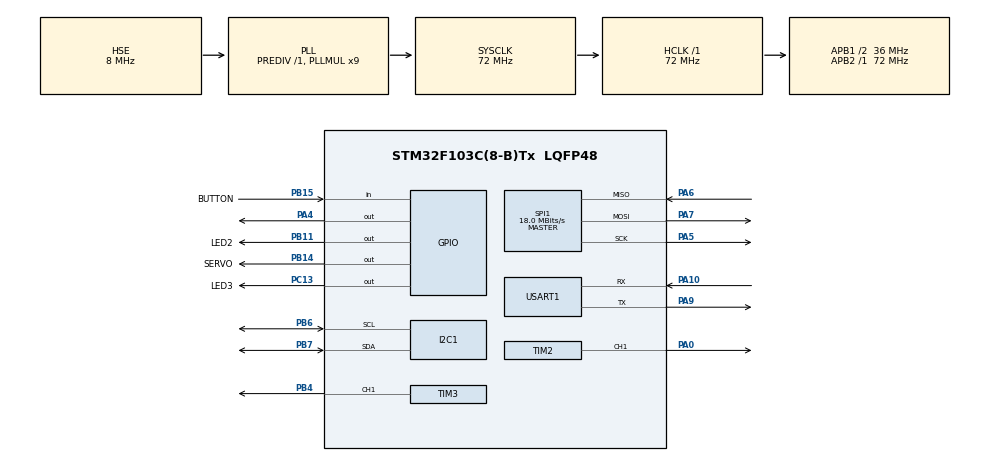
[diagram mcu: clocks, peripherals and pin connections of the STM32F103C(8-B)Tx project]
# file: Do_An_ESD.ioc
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Dma.Request0=USART1_RX
Dma.USART1_RX.0.Direction=DMA_PERIPH_TO_MEMORY
Dma.USART1_RX.0.Instance=DMA1_Channel5
Dma.USART1_RX.0.MemDataAlignment=DMA_MDATAALIGN_BYTE
Dma.USART1_RX.0.MemInc=DMA_MINC_ENABLE
Dma.USART1_RX.0.Mode=DMA_NORMAL
Dma.USART1_RX.0.PeriphDataAlignment=DMA_PDATAALIGN_BYTE
Dma.USART1_RX.0.PeriphInc=DMA_PINC_DISABLE
Dma.USART1_RX.0.Priority=DMA_PRIORITY_LOW
FREERTOS.Tasks01=defaultTask,24,512,StartDefaultTask,Default,NULL,Dynamic,NULL,NULL;buzzerTask,24,128,StartBuzzerTask,Default,NULL,Dynamic,NULL,NULL
FREERTOS.configUSE_NEWLIB_REENTRANT=1
Mcu.Family=STM32F1
Mcu.Name=STM32F103C(8-B)Tx
Mcu.Package=LQFP48
NVIC.DMA1_Channel5_IRQn=true\:5\:0\:false\:false\:true\:true\:false\:true\:true
NVIC.I2C1_ER_IRQn=true\:5\:0\:false\:false\:true\:true\:true\:true\:true
NVIC.I2C1_EV_IRQn=true\:5\:0\:false\:false\:true\:true\:true\:true\:true
NVIC.PriorityGroup=NVIC_PRIORITYGROUP_4
NVIC.SPI1_IRQn=true\:5\:0\:false\:false\:true\:true\:true\:true\:true
NVIC.TIM1_UP_IRQn=true\:15\:0\:false\:false\:true\:false\:false\:true\:true
NVIC.TimeBase=TIM1_UP_IRQn
NVIC.TimeBaseIP=TIM1
NVIC.USART1_IRQn=true\:5\:0\:false\:false\:true\:true\:true\:true\:true
PA0-WKUP.Signal=S_TIM2_CH1_ETR
PA10.Mode=Asynchronous
PA10.Signal=USART1_RX
PA13.Mode=Serial_Wire
PA13.Signal=SYS_JTMS-SWDIO
PA14.Mode=Serial_Wire
PA14.Signal=SYS_JTCK-SWCLK
PA4.Signal=GPIO_Output
PA5.Mode=Full_Duplex_Master
PA5.Signal=SPI1_SCK
PA6.Mode=Full_Duplex_Master
PA6.Signal=SPI1_MISO
PA7.Mode=Full_Duplex_Master
PA7.Signal=SPI1_MOSI
PA9.Mode=Asynchronous
PA9.Signal=USART1_TX
PB11.GPIO_Label=LED2
PB11.Signal=GPIO_Output
PB14.GPIO_Label=SERVO
PB14.Signal=GPIO_Output
PB15.GPIO_Label=BUTTON
PB15.GPIO_Mode=GPIO_MODE_INPUT
PB15.GPIO_PuPd=GPIO_PULLDOWN
PB15.Signal=GPIO_Input
PB4.Signal=S_TIM3_CH1
PB6.Mode=I2C
PB6.Signal=I2C1_SCL
PB7.Mode=I2C
PB7.Signal=I2C1_SDA
PC13-TAMPER-RTC.GPIO_Label=LED3
PC13-TAMPER-RTC.PinState=GPIO_PIN_RESET
PC13-TAMPER-RTC.Signal=GPIO_Output
PC14-OSC32_IN.Mode=LSE-External-Oscillator
PC14-OSC32_IN.Signal=RCC_OSC32_IN
PC15-OSC32_OUT.Mode=LSE-External-Oscillator
PC15-OSC32_OUT.Signal=RCC_OSC32_OUT
PD0-OSC_IN.Mode=HSE-External-Oscillator
PD0-OSC_IN.Signal=RCC_OSC_IN
PD1-OSC_OUT.Mode=HSE-External-Oscillator
PD1-OSC_OUT.Signal=RCC_OSC_OUT
ProjectManager.HeapSize=0x200
ProjectManager.StackSize=0x400
ProjectManager.TargetToolchain=STM32CubeIDE
RCC.AHBFreq_Value=72000000
RCC.APB1CLKDivider=RCC_HCLK_DIV2
RCC.APB1Freq_Value=36000000
RCC.APB1TimFreq_Value=72000000
RCC.APB2Freq_Value=72000000
RCC.APB2TimFreq_Value=72000000
RCC.HCLKFreq_Value=72000000
RCC.PLLMUL=RCC_PLL_MUL9
RCC.PLLSourceVirtual=RCC_PLLSOURCE_HSE
RCC.SYSCLKFreq_VALUE=72000000
RCC.SYSCLKSource=RCC_SYSCLKSOURCE_PLLCLK
RCC.USBFreq_Value=72000000
SH.S_TIM2_CH1_ETR.0=TIM2_CH1,PWM Generation1 CH1
SH.S_TIM3_CH1.0=TIM3_CH1,PWM Generation1 CH1
SPI1.BaudRatePrescaler=SPI_BAUDRATEPRESCALER_4
SPI1.CalculateBaudRate=18.0 MBits/s
SPI1.Direction=SPI_DIRECTION_2LINES
SPI1.Mode=SPI_MODE_MASTER
SPI1.VirtualType=VM_MASTER
TIM2.Channel-PWM\ Generation1\ CH1=TIM_CHANNEL_1
TIM2.Period=1000-1
TIM2.Prescaler=1440-1
TIM2.Pulse-PWM\ Generation1\ CH1=28
TIM3.Channel-PWM\ Generation1\ CH1=TIM_CHANNEL_1
TIM3.Period=10-1
TIM3.Prescaler=2666-1
TIM3.Pulse-PWM\ Generation1\ CH1=5-1
USART1.VirtualMode=VM_ASYNC
VP_FREERTOS_VS_CMSIS_V2.Mode=CMSIS_V2
VP_SYS_VS_tim1.Mode=TIM1
VP_TIM2_VS_ClockSourceINT.Mode=Internal
VP_TIM3_VS_ClockSourceINT.Mode=Internal
board=custom

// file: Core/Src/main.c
/* USER CODE BEGIN Header */
/**
  ******************************************************************************
  * @file           : main.c
  * @brief          : Main program body
  ******************************************************************************
  * @attention
  *
  * Copyright (c) 2023 STMicroelectronics.
  * All rights reserved.
  *
  * This software is licensed under terms that can be found in the LICENSE file
  * in the root directory of this software component.
  * If no LICENSE file comes with this software, it is provided AS-IS.
  *
  ******************************************************************************
  */
/* USER CODE END Header */
#include "main.h"
#include "cmsis_os.h"

/* USER CODE BEGIN Includes */
#include "query_string.h"
#include "i2c-lcd.h"
#include "RFID.h"
#include "string.h"
/* USER CODE END Includes */

I2C_HandleTypeDef hi2c1;

SPI_HandleTypeDef hspi1;

TIM_HandleTypeDef htim2;
TIM_HandleTypeDef htim3;

UART_HandleTypeDef huart1;
DMA_HandleTypeDef hdma_usart1_rx;

/* Definitions for defaultTask */
osThreadId_t defaultTaskHandle;
const osThreadAttr_t defaultTask_attributes = {
  .name = "defaultTask",
  .stack_size = 512 * 4,
  .priority = (osPriority_t) osPriorityNormal,
};
/* Definitions for buzzerTask */
osThreadId_t buzzerTaskHandle;
const osThreadAttr_t buzzerTask_attributes = {
  .name = "buzzerTask",
  .stack_size = 128 * 4,
  .priority = (osPriority_t) osPriorityNormal,
};

void SystemClock_Config(void);
static void MX_GPIO_Init(void);
static void MX_DMA_Init(void);
static void MX_USART1_UART_Init(void);
static void MX_I2C1_Init(void);
static void MX_SPI1_Init(void);
static void MX_TIM2_Init(void);
static void MX_TIM3_Init(void);
void StartDefaultTask(void *argument);
void StartBuzzerTask(void *argument);

/* USER CODE BEGIN 0 */
Sys_Mode sysMode;
Read_State readState;
char id[ID_SIZE + 1] = {0xEE, 0xEE, 0xEE};
char strId[ID_SIZE*2+1];
char rxData[UART_BUFFER_SIZE];
char txData[UART_BUFFER_SIZE];
Display display = {
		.mode = DM_HOME_SCREEN,
		.time = 0
};
Buzzer buzzer = {
		.status = BUZZER_OFF,
		.time = 0
};

void onOpen() {
	char name[NAME_SIZE];
	char fee[FEE_SIZE];
	char dir[5]; // in or out
	char buf[17];

	openGate();

	getParameter(rxData, "name=", name);
	getParameter(rxData, "dir=", dir);

	lcd_clear_display();
	HAL_Delay(50);
	lcdPrintTitle(&display, name);

	if(strcmp(dir, "out") == 0) {
		getParameter(rxData, "fee=", fee);
		sprintf(buf, "OUT: %s", fee);
	}
	else
		sprintf(buf, "IN: ---");

	lcdPrintInfo(&display, buf);
}

void onDeny() {
	char reason[LCD_LENGTH+1];
	getParameter(rxData, "reason=", reason);

	lcd_clear_display();
	HAL_Delay(50);
	lcdPrintTitle(&display, "ACCESS DENY");
	lcdPrintInfo(&display, reason);
}

Write_Status onWrite() {
	char username[LCD_LENGTH + 1];
	uint32_t startTime;
	uint32_t currentTime;
	uint32_t toggleTime;
	uint8_t isTimeOut;
	uint8_t dotCount = 0;

	buzzer.time = 500;
	buzzer.status = BUZZER_ON;

	getParameter(rxData, "username=", username);

	getParameter(rxData, "id=", strId);
	convertStringToHexId(strId, id);

	lcd_clear_display();
	HAL_Delay(50);

	lcdPrintTitle(&display, "LINK CARD");
	lcdPrintInfo(&display, username);

	startTime = HAL_GetTick();
	toggleTime = startTime;
	currentTime = startTime;
	isTimeOut = 0;

	lcd_goto_XY(1, 9);
	while(writeID(id) != RFID_OK  && !isTimeOut) {
		if(currentTime - toggleTime > TOGGLE_TIME_MS*2) {
			toggleTime = currentTime;
			HAL_GPIO_TogglePin(LED3_GPIO_Port, LED3_Pin);
			lcd_send_string(".");
			dotCount++;

			if(dotCount == 8) {
				dotCount = 0;
				lcd_goto_XY(1, 9);
				lcd_send_string("       ");
				lcd_goto_XY(1, 9);
			}
		}
		currentTime = HAL_GetTick();
		isTimeOut = currentTime - startTime > 10*1000;
	}

	display.time = HAL_GetTick();
	display.mode = DM_INFO;

	if(isTimeOut) {
	  lcdPrintTitle(&display, "LINK CARD TIMEOUT");
	  return WRITE_TIMEOUT;
	}
	else {
	  lcdPrintTitle(&display, "LINK CARD OK");
	  sprintf(txData, "cmd=writeRes&status=ok&id=%s", strId);
	  HAL_UART_Transmit(&ESP32_UART, (uint8_t*)txData, strlen(txData), 100);
	}

	return WRITE_OK;
}

Read_State onRead(uint32_t* readTime) {
	RFID_Status status = readID(id);

	if(status == RFID_AUTH_ERR)
		lcdPrintInfo(&display, "INVALID CARD");

	if(status != RFID_OK)
		return RS_READING; // read again

	convertToString(id, strId);
	sprintf(txData, "cmd=read&id=%s",strId);

	HAL_UART_Transmit(&ESP32_UART, (uint8_t*)txData, strlen(txData), 100);

	*readTime = HAL_GetTick();

	return RS_WAIT; // wait for response
}

Read_State onWait(uint32_t readTime) {
	uint8_t count = 0;
	uint32_t currentTime = HAL_GetTick();
	uint32_t toggleTime = currentTime;

	lcd_goto_XY(2, 0);
	while(readState == RS_WAIT && currentTime - readTime < WAIT_TIME*1000 ) {
		if(currentTime - toggleTime > TOGGLE_TIME_MS) {
			toggleTime = currentTime;
			HAL_GPIO_TogglePin(LED3_GPIO_Port, LED3_Pin);
			lcd_send_string(".");
			count++;

			if(count == 16) {
				count = 0;
				lcdPrintInfo(&display, "");
				lcd_goto_XY(2, 0);
			}
		}
		currentTime = HAL_GetTick(); //update current time.
	}

	// time out
	if(readState == RS_WAIT) {
		lcdPrintInfo(&display, "TIMEOUT");
		return RS_READING;
	}

	return RS_RESPONSE;
}

Read_State onResponse() {
	char cmd[CMD_SIZE];
	getParameter(rxData, "cmd=", cmd);

	if(strcmp(cmd, "open") == 0)
		onOpen();
	else if(strcmp(cmd, "deny") == 0)
		onDeny();

	return RS_READING;
}

void openGate() {
	SERVO_TIMER.Instance->CCR1 = 80;
}

void closeGate() {
	SERVO_TIMER.Instance->CCR1 = 28;
}

// UART interrupt
void HAL_UARTEx_RxEventCallback(UART_HandleTypeDef *huart, uint16_t Size)
{
    // handle interrupt here
	rxData[Size] = '\0'; // ESP32 serial printf ignore '\0', so we have to add it manually
	char cmd[CMD_SIZE];
	getParameter(rxData, "cmd=", cmd);

	if(strcmp(cmd, "write") == 0)
		sysMode = SYS_WRITE;
	else if(readState == RS_WAIT)
		readState = RS_RESPONSE;

	// enable receive in dma mode again
    HAL_UARTEx_ReceiveToIdle_DMA(&ESP32_UART, (uint8_t*)rxData, UART_BUFFER_SIZE);
    __HAL_DMA_DISABLE_IT(&HDMA_ESP32_UART_RX, DMA_IT_HT);
}

/* USER CODE END 0 */

int main(void)
{

  /* MCU Configuration--------------------------------------------------------*/

  /* Reset of all peripherals, Initializes the Flash interface and the Systick. */
  HAL_Init();

  /* Configure the system clock */
  SystemClock_Config();

  /* Initialize all configured peripherals */
  MX_GPIO_Init();
  MX_DMA_Init();
  MX_USART1_UART_Init();
  MX_I2C1_Init();
  MX_SPI1_Init();
  MX_TIM2_Init();
  MX_TIM3_Init();
  /* USER CODE BEGIN 2 */
  // using UART in IDLE DMA mode (https://tapit.vn/huong-dan-su-dung-chuc-nang-uart-idle-dma)
  HAL_UARTEx_ReceiveToIdle_DMA(&ESP32_UART, (uint8_t*)rxData, UART_BUFFER_SIZE);
  __HAL_DMA_DISABLE_IT(&HDMA_ESP32_UART_RX, DMA_IT_HT);

  HAL_TIM_PWM_Start(&SERVO_TIMER, TIM_CHANNEL_1);

  lcdInit(&display);
  RFID_Init();

  closeGate();

  /* USER CODE END 2 */

  /* Init scheduler */
  osKernelInitialize();

  /* Create the thread(s) */
  /* creation of defaultTask */
  defaultTaskHandle = osThreadNew(StartDefaultTask, NULL, &defaultTask_attributes);

  /* creation of buzzerTask */
  buzzerTaskHandle = osThreadNew(StartBuzzerTask, NULL, &buzzerTask_attributes);

  /* Start scheduler */
  osKernelStart();

  /* We should never get here as control is now taken by the scheduler */
  /* Infinite loop */
  while (1)
  {

  }
}

void SystemClock_Config(void)
{
  RCC_OscInitTypeDef RCC_OscInitStruct = {0};
  RCC_ClkInitTypeDef RCC_ClkInitStruct = {0};

  /** Initializes the RCC Oscillators according to the specified parameters
  * in the RCC_OscInitTypeDef structure.
  */
  RCC_OscInitStruct.OscillatorType = RCC_OSCILLATORTYPE_HSE;
  RCC_OscInitStruct.HSEState = RCC_HSE_ON;
  RCC_OscInitStruct.HSEPredivValue = RCC_HSE_PREDIV_DIV1;
  RCC_OscInitStruct.HSIState = RCC_HSI_ON;
  RCC_OscInitStruct.PLL.PLLState = RCC_PLL_ON;
  RCC_OscInitStruct.PLL.PLLSource = RCC_PLLSOURCE_HSE;
  RCC_OscInitStruct.PLL.PLLMUL = RCC_PLL_MUL9;
  if (HAL_RCC_OscConfig(&RCC_OscInitStruct) != HAL_OK)
  {
    Error_Handler();
  }

  /** Initializes the CPU, AHB and APB buses clocks
  */
  RCC_ClkInitStruct.ClockType = RCC_CLOCKTYPE_HCLK|RCC_CLOCKTYPE_SYSCLK
                              |RCC_CLOCKTYPE_PCLK1|RCC_CLOCKTYPE_PCLK2;
  RCC_ClkInitStruct.SYSCLKSource = RCC_SYSCLKSOURCE_PLLCLK;
  RCC_ClkInitStruct.AHBCLKDivider = RCC_SYSCLK_DIV1;
  RCC_ClkInitStruct.APB1CLKDivider = RCC_HCLK_DIV2;
  RCC_ClkInitStruct.APB2CLKDivider = RCC_HCLK_DIV1;

  if (HAL_RCC_ClockConfig(&RCC_ClkInitStruct, FLASH_LATENCY_2) != HAL_OK)
  {
    Error_Handler();
  }
}

static void MX_I2C1_Init(void)
{

  hi2c1.Instance = I2C1;
  hi2c1.Init.ClockSpeed = 100000;
  hi2c1.Init.DutyCycle = I2C_DUTYCYCLE_2;
  hi2c1.Init.OwnAddress1 = 0;
  hi2c1.Init.AddressingMode = I2C_ADDRESSINGMODE_7BIT;
  hi2c1.Init.DualAddressMode = I2C_DUALADDRESS_DISABLE;
  hi2c1.Init.OwnAddress2 = 0;
  hi2c1.Init.GeneralCallMode = I2C_GENERALCALL_DISABLE;
  hi2c1.Init.NoStretchMode = I2C_NOSTRETCH_DISABLE;
  if (HAL_I2C_Init(&hi2c1) != HAL_OK)
  {
    Error_Handler();
  }

}

static void MX_SPI1_Init(void)
{

  /* SPI1 parameter configuration*/
  hspi1.Instance = SPI1;
  hspi1.Init.Mode = SPI_MODE_MASTER;
  hspi1.Init.Direction = SPI_DIRECTION_2LINES;
  hspi1.Init.DataSize = SPI_DATASIZE_8BIT;
  hspi1.Init.CLKPolarity = SPI_POLARITY_LOW;
  hspi1.Init.CLKPhase = SPI_PHASE_1EDGE;
  hspi1.Init.NSS = SPI_NSS_SOFT;
  hspi1.Init.BaudRatePrescaler = SPI_BAUDRATEPRESCALER_4;
  hspi1.Init.FirstBit = SPI_FIRSTBIT_MSB;
  hspi1.Init.TIMode = SPI_TIMODE_DISABLE;
  hspi1.Init.CRCCalculation = SPI_CRCCALCULATION_DISABLE;
  hspi1.Init.CRCPolynomial = 10;
  if (HAL_SPI_Init(&hspi1) != HAL_OK)
  {
    Error_Handler();
  }

}

static void MX_TIM2_Init(void)
{

  TIM_ClockConfigTypeDef sClockSourceConfig = {0};
  TIM_MasterConfigTypeDef sMasterConfig = {0};
  TIM_OC_InitTypeDef sConfigOC = {0};

  htim2.Instance = TIM2;
  htim2.Init.Prescaler = 1440-1;
  htim2.Init.CounterMode = TIM_COUNTERMODE_UP;
  htim2.Init.Period = 1000-1;
  htim2.Init.ClockDivision = TIM_CLOCKDIVISION_DIV1;
  htim2.Init.AutoReloadPreload = TIM_AUTORELOAD_PRELOAD_DISABLE;
  if (HAL_TIM_Base_Init(&htim2) != HAL_OK)
  {
    Error_Handler();
  }
  sClockSourceConfig.ClockSource = TIM_CLOCKSOURCE_INTERNAL;
  if (HAL_TIM_ConfigClockSource(&htim2, &sClockSourceConfig) != HAL_OK)
  {
    Error_Handler();
  }
  if (HAL_TIM_PWM_Init(&htim2) != HAL_OK)
  {
    Error_Handler();
  }
  sMasterConfig.MasterOutputTrigger = TIM_TRGO_RESET;
  sMasterConfig.MasterSlaveMode = TIM_MASTERSLAVEMODE_DISABLE;
  if (HAL_TIMEx_MasterConfigSynchronization(&htim2, &sMasterConfig) != HAL_OK)
  {
    Error_Handler();
  }
  sConfigOC.OCMode = TIM_OCMODE_PWM1;
  sConfigOC.Pulse = 28;
  sConfigOC.OCPolarity = TIM_OCPOLARITY_HIGH;
  sConfigOC.OCFastMode = TIM_OCFAST_DISABLE;
  if (HAL_TIM_PWM_ConfigChannel(&htim2, &sConfigOC, TIM_CHANNEL_1) != HAL_OK)
  {
    Error_Handler();
  }
  HAL_TIM_MspPostInit(&htim2);

}

static void MX_TIM3_Init(void)
{

  TIM_ClockConfigTypeDef sClockSourceConfig = {0};
  TIM_MasterConfigTypeDef sMasterConfig = {0};
  TIM_OC_InitTypeDef sConfigOC = {0};

  htim3.Instance = TIM3;
  htim3.Init.Prescaler = 2666-1;
  htim3.Init.CounterMode = TIM_COUNTERMODE_UP;
  htim3.Init.Period = 10-1;
  htim3.Init.ClockDivision = TIM_CLOCKDIVISION_DIV1;
  htim3.Init.AutoReloadPreload = TIM_AUTORELOAD_PRELOAD_DISABLE;
  if (HAL_TIM_Base_Init(&htim3) != HAL_OK)
  {
    Error_Handler();
  }
  sClockSourceConfig.ClockSource = TIM_CLOCKSOURCE_INTERNAL;
  if (HAL_TIM_ConfigClockSource(&htim3, &sClockSourceConfig) != HAL_OK)
  {
    Error_Handler();
  }
  if (HAL_TIM_PWM_Init(&htim3) != HAL_OK)
  {
    Error_Handler();
  }
  sMasterConfig.MasterOutputTrigger = TIM_TRGO_RESET;
  sMasterConfig.MasterSlaveMode = TIM_MASTERSLAVEMODE_DISABLE;
  if (HAL_TIMEx_MasterConfigSynchronization(&htim3, &sMasterConfig) != HAL_OK)
  {
    Error_Handler();
  }
  sConfigOC.OCMode = TIM_OCMODE_PWM1;
  sConfigOC.Pulse = 5-1;
  sConfigOC.OCPolarity = TIM_OCPOLARITY_HIGH;
  sConfigOC.OCFastMode = TIM_OCFAST_DISABLE;
  if (HAL_TIM_PWM_ConfigChannel(&htim3, &sConfigOC, TIM_CHANNEL_1) != HAL_OK)
  {
    Error_Handler();
  }
  HAL_TIM_MspPostInit(&htim3);

}

static void MX_USART1_UART_Init(void)
{

  huart1.Instance = USART1;
  huart1.Init.BaudRate = 115200;
  huart1.Init.WordLength = UART_WORDLENGTH_8B;
  huart1.Init.StopBits = UART_STOPBITS_1;
  huart1.Init.Parity = UART_PARITY_NONE;
  huart1.Init.Mode = UART_MODE_TX_RX;
  huart1.Init.HwFlowCtl = UART_HWCONTROL_NONE;
  huart1.Init.OverSampling = UART_OVERSAMPLING_16;
  if (HAL_UART_Init(&huart1) != HAL_OK)
  {
    Error_Handler();
  }

}

static void MX_DMA_Init(void)
{

  /* DMA controller clock enable */
  __HAL_RCC_DMA1_CLK_ENABLE();

  /* DMA interrupt init */
  /* DMA1_Channel5_IRQn interrupt configuration */
  HAL_NVIC_SetPriority(DMA1_Channel5_IRQn, 5, 0);
  HAL_NVIC_EnableIRQ(DMA1_Channel5_IRQn);

}

static void MX_GPIO_Init(void)
{
  GPIO_InitTypeDef GPIO_InitStruct = {0};

  /* GPIO Ports Clock Enable */
  __HAL_RCC_GPIOC_CLK_ENABLE();
  __HAL_RCC_GPIOD_CLK_ENABLE();
  __HAL_RCC_GPIOA_CLK_ENABLE();
  __HAL_RCC_GPIOB_CLK_ENABLE();

  /*Configure GPIO pin Output Level */
  HAL_GPIO_WritePin(LED3_GPIO_Port, LED3_Pin, GPIO_PIN_RESET);

  /*Configure GPIO pin Output Level */
  HAL_GPIO_WritePin(GPIOA, GPIO_PIN_4, GPIO_PIN_RESET);

  /*Configure GPIO pin Output Level */
  HAL_GPIO_WritePin(GPIOB, LED2_Pin|SERVO_Pin, GPIO_PIN_RESET);

  /*Configure GPIO pin : LED3_Pin */
  GPIO_InitStruct.Pin = LED3_Pin;
  GPIO_InitStruct.Mode = GPIO_MODE_OUTPUT_PP;
  GPIO_InitStruct.Pull = GPIO_NOPULL;
  GPIO_InitStruct.Speed = GPIO_SPEED_FREQ_LOW;
  HAL_GPIO_Init(LED3_GPIO_Port, &GPIO_InitStruct);

  /*Configure GPIO pin : PA4 */
  GPIO_InitStruct.Pin = GPIO_PIN_4;
  GPIO_InitStruct.Mode = GPIO_MODE_OUTPUT_PP;
  GPIO_InitStruct.Pull = GPIO_NOPULL;
  GPIO_InitStruct.Speed = GPIO_SPEED_FREQ_LOW;
  HAL_GPIO_Init(GPIOA, &GPIO_InitStruct);

  /*Configure GPIO pins : LED2_Pin SERVO_Pin */
  GPIO_InitStruct.Pin = LED2_Pin|SERVO_Pin;
  GPIO_InitStruct.Mode = GPIO_MODE_OUTPUT_PP;
  GPIO_InitStruct.Pull = GPIO_NOPULL;
  GPIO_InitStruct.Speed = GPIO_SPEED_FREQ_LOW;
  HAL_GPIO_Init(GPIOB, &GPIO_InitStruct);

  /*Configure GPIO pin : BUTTON_Pin */
  GPIO_InitStruct.Pin = BUTTON_Pin;
  GPIO_InitStruct.Mode = GPIO_MODE_INPUT;
  GPIO_InitStruct.Pull = GPIO_PULLDOWN;
  HAL_GPIO_Init(BUTTON_GPIO_Port, &GPIO_InitStruct);

}

void StartDefaultTask(void *argument)
{
  /* USER CODE BEGIN 5 */
	uint32_t readTime;
	sysMode = SYS_READ;
	readState = RS_READING;
  /* Infinite loop */
  for(;;) {
		// writing mode is determined by UART interrupt.
		if(sysMode == SYS_WRITE) {
		  onWrite();

		  // after write id, change mode back to read.
		  sysMode = SYS_READ;
		  readState = RS_READING;
		}
		else {
		  // reading mode
		  if(readState == RS_READING)
			  readState = onRead(&readTime);
		  else if(readState == RS_WAIT)
			  readState = onWait(readTime);
		  else if(readState == RS_RESPONSE)
			  readState = onResponse();
		}

		// return to home screen 5 second after display info
		if(display.mode != DM_HOME_SCREEN && HAL_GetTick() - display.time > INFO_DISPLAY_TIME*1000) {
		  closeGate();
		  display.mode = lcdDipsplayHomeScreen();
		}

		//osDelay(1);
  }
  /* USER CODE END 5 */
}

void StartBuzzerTask(void *argument)
{
  /* USER CODE BEGIN StartBuzzerTask */
  /* Infinite loop */
  for(;;)
  {
    if(buzzer.status == BUZZER_ON) {
  	  HAL_TIM_PWM_Start(&BUZZER_TIMER, TIM_CHANNEL_1);
  	  osDelay(buzzer.time);
  	  HAL_TIM_PWM_Stop(&BUZZER_TIMER, TIM_CHANNEL_1);
  	  buzzer.status = BUZZER_OFF;
    }
	//osDelay(1);
  }
  /* USER CODE END StartBuzzerTask */
}

void HAL_TIM_PeriodElapsedCallback(TIM_HandleTypeDef *htim)
{
  if (htim->Instance == TIM1) {
    HAL_IncTick();
  }
}

void Error_Handler(void)
{
  __disable_irq();
  while (1)
  {
  }
}
